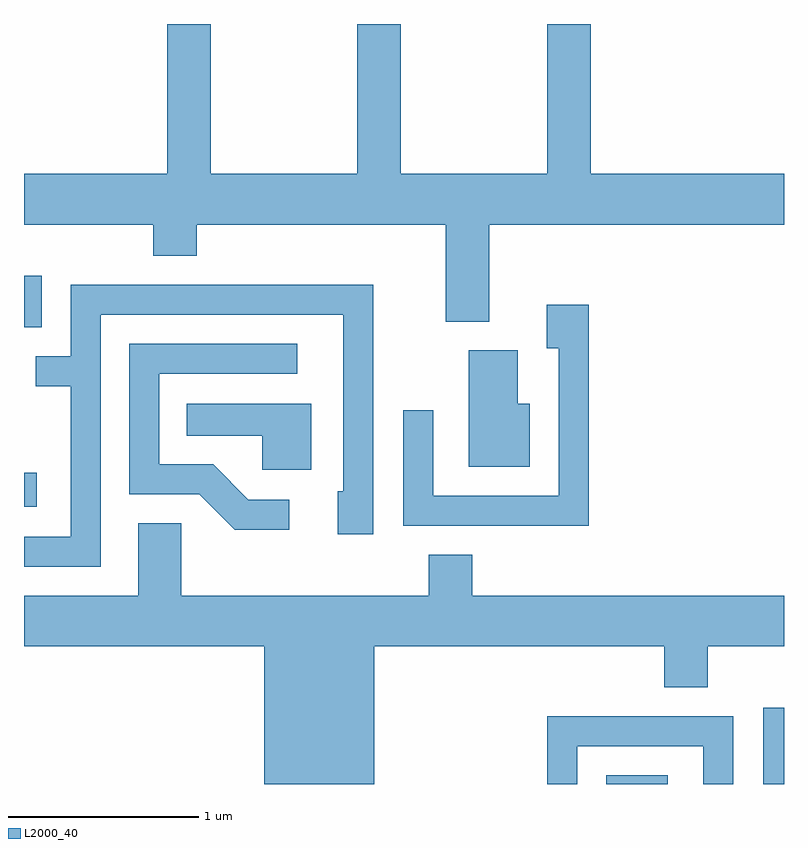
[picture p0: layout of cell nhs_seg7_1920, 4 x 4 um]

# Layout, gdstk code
import gdstk
lib = gdstk.Library(unit=1e-6, precision=1e-09)
def R(c, l, rs):  # rectangles x0, y0, x1, y1
    for r in rs: c.add(gdstk.rectangle(r[:2], r[2:], *l))
def P(c, l, *ps):  # polygons
    for p in ps: c.add(gdstk.Polygon(p, *l))
L2000_40 = (2000, 40)

nhs_seg7_1920 = lib.new_cell('nhs_seg7_1920')
R(nhs_seg7_1920, L2000_40, [(246.676,1720.252,246.999,1720.299), (247.501,1720.252,247.611,1720.654), (243.611,1721.711,243.679,1721.889), (243.611,1722.656,243.704,1722.928)])
P(nhs_seg7_1920, L2000_40, [(246.366,1724.252),(246.366,1723.464),(245.594,1723.464),(245.594,1724.252),(245.366,1724.252),(245.366,1723.464),(244.594,1723.464),(244.594,1724.252),(244.366,1724.252),(244.366,1723.464),(243.611,1723.464),(243.611,1723.196),(244.291,1723.196),(244.291,1723.031),(244.519,1723.031),(244.519,1723.196),(245.831,1723.196),(245.831,1722.686),(246.059,1722.686),(246.059,1723.196),(247.611,1723.196),(247.611,1723.464),(246.594,1723.464),(246.594,1724.252)],
  [(244.014,1722.721),(245.291,1722.721),(245.291,1721.794),(245.261,1721.794),(245.261,1721.566),(245.449,1721.566),(245.449,1722.879),(243.856,1722.879),(243.856,1722.504),(243.673,1722.504),(243.673,1722.346),(243.856,1722.346),(243.856,1721.554),(243.611,1721.554),(243.611,1721.396),(244.014,1721.396)],
  [(246.584,1722.774),(246.361,1722.774),(246.361,1722.546),(246.426,1722.546),(246.426,1721.769),(245.764,1721.769),(245.764,1722.218),(245.606,1722.218),(245.606,1721.611),(246.584,1721.611)],
  [(245.008,1721.749),(244.792,1721.749),(244.607,1721.934),(244.324,1721.934),(244.324,1722.411),(245.048,1722.411),(245.048,1722.569),(244.166,1722.569),(244.166,1721.776),(244.534,1721.776),(244.719,1721.591),(245.008,1721.591)],
  [(246.274,1722.254),(246.209,1722.254),(246.209,1722.534),(245.951,1722.534),(245.951,1721.921),(246.274,1721.921)],
  [(245.124,1722.254),(244.468,1722.254),(244.468,1722.086),(244.866,1722.086),(244.866,1721.906),(245.124,1721.906)],
  [(245.454,1720.976),(246.981,1720.976),(246.981,1720.761),(247.209,1720.761),(247.209,1720.976),(247.611,1720.976),(247.611,1721.244),(245.969,1721.244),(245.969,1721.459),(245.741,1721.459),(245.741,1721.244),(244.439,1721.244),(244.439,1721.624),(244.211,1721.624),(244.211,1721.244),(243.611,1721.244),(243.611,1720.976),(244.876,1720.976),(244.876,1720.252),(245.454,1720.252)],
  [(246.524,1720.451),(247.186,1720.451),(247.186,1720.252),(247.344,1720.252),(247.344,1720.609),(246.366,1720.609),(246.366,1720.252),(246.524,1720.252)])

lib.write_gds('nhs_seg7_1920.gds')
